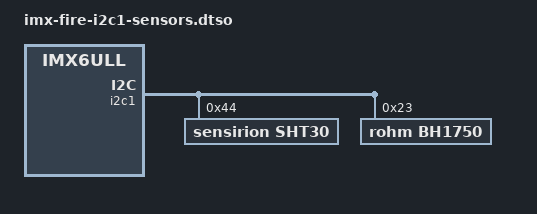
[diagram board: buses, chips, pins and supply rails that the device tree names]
/dts-v1/;
/plugin/;

/ {
    compatible = "fsl,imx6ull-14x14-evk", "fsl,imx6ull";

    fragment@0 {
        target = <&i2c1>;

        __overlay__ {
            status = "okay";

            sht30@44 {
                compatible = "sensirion,sht30";
                reg = <0x44>;
                status = "okay";
            };

            bh1750@23 {
                compatible = "rohm,bh1750";
                reg = <0x23>;
                status = "okay";
            };
        };
    };
};
